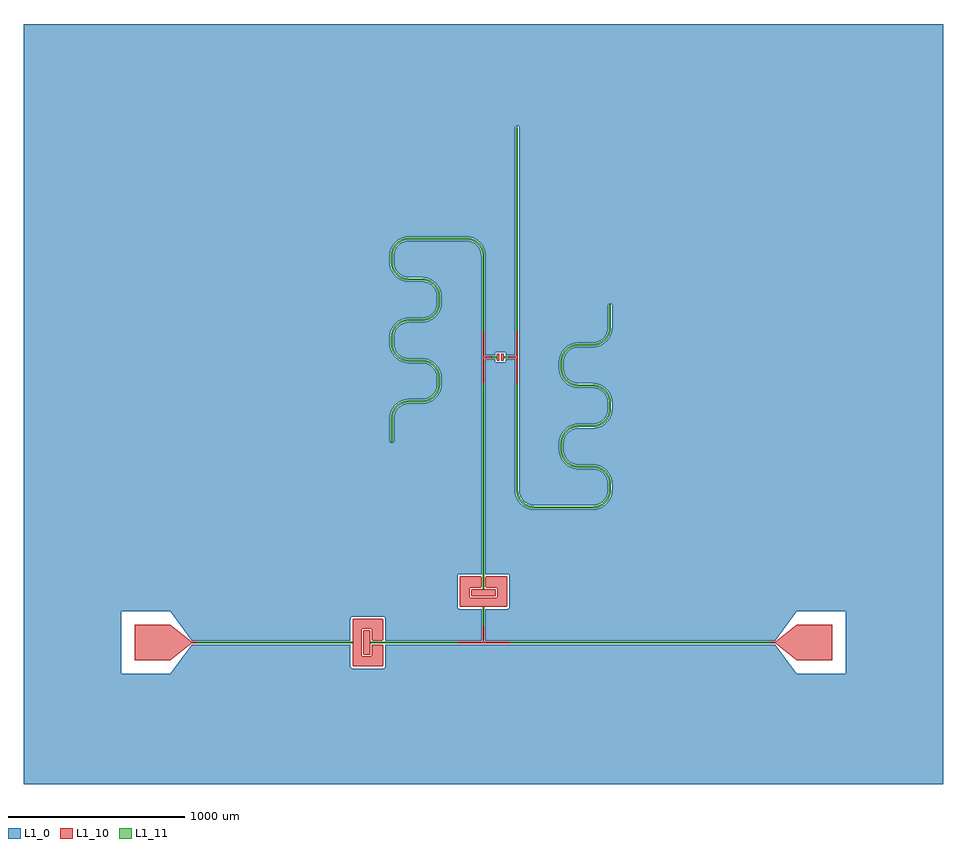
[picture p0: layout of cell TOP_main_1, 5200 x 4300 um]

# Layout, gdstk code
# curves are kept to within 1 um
import gdstk
lib = gdstk.Library(unit=1e-6, precision=1e-09)
def R(c, l, rs):  # rectangles x0, y0, x1, y1
    for r in rs: c.add(gdstk.rectangle(r[:2], r[2:], *l))
def P(c, l, *ps):  # polygons
    for p in ps: c.add(gdstk.Polygon(p, *l))
L1_0 = (1, 0)
L1_10 = (1, 10)
L1_11 = (1, 11)

ground_main_1 = lib.new_cell('ground_main_1')
R(ground_main_1, L1_0, [(-511.28,-800,-484.407,-11), (-484.407,-800,-438.03,-11), (-438.03,-800,-308.285,-11), (-308.285,-800,-263.265,-11), (-263.265,-800,-69.572,-11), (-69.572,-800,144.978,-11), (144.978,-800,437.953,-11), (437.953,-800,477.269,-11), (477.269,-800,539,-11), (539,-800,666.051,-11), (666.051,-800,701.192,-11), (-69.572,11,-11,190), (437.953,11,477.269,754), (477.269,11,539,754), (-308.285,2296,-263.265,3500)])
P(ground_main_1, L1_0, [(701.945,840.369),(704.175,850.759),(705.016,858.687),(705.177,896),(704.175,909.241),(701.192,922.18),(701.192,837.82)],
  [(-509.575,2250.173),(-498.016,2263.782),(-484.407,2275.341),(-484.407,3500),(-511.28,3500),(-511.28,2247.731)],
  [(-484.407,2246.211),(-495.543,2231.526),(-502.515,2217.205),(-506.792,2201.862),(-508.234,2186),(-508.073,2148.687),(-505.677,2132.94),(-498.154,2113.104),(-484.407,2093.789)],
  [(-509.575,1790.173),(-498.016,1803.782),(-484.407,1815.341),(-484.407,2064.659),(-498.016,2076.218),(-511.28,2092.269),(-511.28,1787.731)],
  [(-484.407,1786.211),(-495.543,1771.526),(-502.515,1757.205),(-506.792,1741.862),(-508.234,1726),(-508.073,1688.687),(-505.677,1672.94),(-498.154,1653.104),(-484.407,1633.789)],
  [(-509.575,1330.173),(-498.016,1343.782),(-484.407,1355.341),(-484.407,1604.659),(-498.016,1616.218),(-511.28,1632.269),(-511.28,1327.731)],
  [(-484.407,1326.211),(-499.354,1304.524),(-504.249,1292.18),(-507.232,1279.241),(-508.234,1135),(-511.28,1135),(-511.28,11),(-484.407,11)],
  [(-481.964,2277.046),(-460.949,2288.187),(-438.03,2294.551),(-438.03,3500),(-484.407,3500),(-484.407,2275.341)],
  [(-438.03,2272.174),(-451.439,2268.281),(-463.464,2262.649),(-474.505,2255.272),(-484.407,2246.211),(-484.407,2093.789),(-474.505,2084.728),(-463.464,2077.351),(-451.439,2071.719),(-438.03,2067.826)],
  [(-481.964,1817.046),(-460.949,1828.187),(-438.03,1834.551),(-438.03,2045.449),(-460.949,2051.813),(-484.407,2064.659),(-484.407,1815.341)],
  [(-438.03,1812.174),(-451.439,1808.281),(-463.464,1802.649),(-474.505,1795.272),(-484.407,1786.211),(-484.407,1633.789),(-474.505,1624.728),(-463.464,1617.351),(-451.439,1611.719),(-438.03,1607.826)],
  [(-481.964,1357.046),(-460.949,1368.187),(-438.03,1374.551),(-438.03,1585.449),(-460.949,1591.813),(-484.407,1604.659),(-484.407,1355.341)],
  [(-438.03,1352.174),(-451.439,1348.281),(-463.464,1342.649),(-474.505,1335.272),(-484.407,1326.211),(-484.407,11),(-438.03,11)],
  [(-435.084,2294.993),(-432.127,2295.355),(-429.161,2295.637),(-426.189,2295.839),(-423.213,2295.96),(-420.234,2296),(-308.285,2296),(-308.285,3500),(-438.03,3500),(-438.03,2294.551)],
  [(-308.285,2274),(-420.234,2274),(-438.03,2272.174),(-438.03,2067.826),(-422.892,2066.04),(-340.073,2065.637),(-322.453,2062.749),(-308.285,2058.187)],
  [(-435.084,1834.993),(-341.036,1836.361),(-325.369,1839.232),(-308.285,1845.989),(-308.285,2034.011),(-325.369,2040.768),(-341.036,2043.639),(-423.213,2044.04),(-438.03,2045.449),(-438.03,1834.551)],
  [(-308.285,1821.813),(-322.453,1817.251),(-340.073,1814.363),(-422.892,1813.96),(-438.03,1812.174),(-438.03,1607.826),(-422.892,1606.04),(-340.073,1605.637),(-322.453,1602.749),(-308.285,1598.187)],
  [(-435.084,1374.993),(-341.036,1376.361),(-325.369,1379.232),(-308.285,1385.989),(-308.285,1574.011),(-325.369,1580.768),(-341.036,1583.639),(-423.213,1584.04),(-438.03,1585.449),(-438.03,1374.551)],
  [(-308.285,1361.813),(-322.453,1357.251),(-340.073,1354.363),(-422.892,1353.96),(-438.03,1352.174),(-438.03,11),(-308.285,11)],
  [(-263.265,2274),(-308.285,2274),(-308.285,2058.187),(-284.827,2045.341),(-273.353,2035.86),(-263.265,2024.916)],
  [(-308.104,1846.08),(-294.729,1854.728),(-283.131,1865.645),(-273.691,1878.474),(-265.814,1895.294),(-263.265,1904.21),(-263.265,1975.79),(-269.88,1994.524),(-279.728,2010.271),(-292.661,2023.601),(-308.285,2034.011)],
  [(-263.265,1855.084),(-273.353,1844.14),(-284.827,1834.659),(-308.285,1821.813),(-308.285,1598.187),(-284.827,1585.341),(-273.353,1575.86),(-263.265,1564.916)],
  [(-308.104,1386.08),(-294.729,1394.728),(-283.131,1405.645),(-273.691,1418.474),(-265.814,1435.294),(-263.265,1444.21),(-263.265,1515.79),(-269.88,1534.524),(-279.728,1550.271),(-292.661,1563.601),(-308.285,1574.011)],
  [(-263.265,1395.084),(-273.353,1384.14),(-284.827,1374.659),(-308.285,1361.813),(-308.285,11),(-263.265,11)],
  [(-69.572,3500),(-263.265,3500),(-263.265,2296),(-96.021,2295.96),(-69.572,2291.99)],
  [(-69.572,190),(-137.341,190.231),(-144.276,194.387),(-147,202),(-146.087,379.592),(-141.667,384.978),(-136.176,386.942),(-69.572,387),(-69.572,2268.925),(-83.138,2272.559),(-96.342,2273.96),(-263.265,2274),(-263.265,2024.916),(-253.245,2010.138),(-245.747,1993.933),(-240.449,1973.796),(-239,1956),(-239.161,1918.045),(-242.251,1897.453),(-250.454,1875.126),(-263.265,1855.084),(-263.265,1564.916),(-253.245,1550.138),(-245.747,1533.933),(-240.449,1513.796),(-239,1496),(-239.161,1458.045),(-242.251,1437.453),(-250.454,1415.126),(-263.265,1395.084),(-263.265,11),(-69.572,11)],
  [(-262.96,1905.53),(-261.642,1913.393),(-261.04,1921.342),(-261,1956),(-261.642,1966.607),(-263.265,1975.79),(-263.265,1904.21)],
  [(-262.96,1445.53),(-261.642,1453.393),(-261.04,1461.342),(-261,1496),(-261.642,1506.607),(-263.265,1515.79),(-263.265,1444.21)],
  [(65.5,1642),(67.5,1644),(122.89,1643.962),(124.49,1642.196),(124.5,1626),(144.978,1626),(144.978,3500),(-69.572,3500),(-69.572,2291.99),(-55.533,2287.047),(-42.289,2280.254),(-30.084,2271.735),(-19.14,2261.647),(-9.659,2250.173),(-1.814,2237.525),(4.253,2223.933),(8.428,2209.647),(11,2186),(11,1626),(65.5,1626)],
  [(-11,387),(-11.04,2188.658),(-12.441,2201.862),(-15.814,2214.706),(-21.08,2226.896),(-28.12,2238.154),(-36.775,2248.225),(-46.846,2256.88),(-69.572,2268.925),(-69.572,387)],
  [(144.978,1604),(124.5,1604),(124.49,1587.804),(122.5,1586),(67.11,1586.038),(65.51,1587.804),(65.5,1604),(11,1604),(11,387),(135,387),(140.657,385.583),(144.978,381.667)],
  [(144.978,195.333),(140.657,191.417),(135,190),(11,190),(11,11),(144.978,11)],
  [(437.953,1050.533),(431.572,1070.353),(429,1094),(429.645,1137.893),(432.251,1152.547),(437.953,1169.467),(437.953,1510.533),(431.572,1530.353),(429,1554),(429.645,1597.893),(432.251,1612.547),(437.953,1629.467),(437.953,3500),(144.978,3500),(144.978,1626),(179,1626),(179,2921),(201,2921),(201.642,853.393),(204.232,840.369),(208.753,827.884),(221.399,807.661),(239.01,791.577),(250.476,784.88),(262.82,779.985),(286.342,776.04),(437.953,776)],
  [(437.953,754),(286.021,754.04),(271.204,755.449),(256.713,758.845),(232.289,769.746),(213.353,784.14),(196.316,804.758),(184.758,828.877),(180.449,846.204),(179,864),(179,1604),(144.978,1604),(144.978,381.667),(147,375),(147,202),(144.978,195.333),(144.978,11),(437.953,11)],
  [(439.167,1632.188),(446.316,1645.242),(455.162,1657.212),(465.543,1667.879),(477.269,1677.046),(477.269,3500),(437.953,3500),(437.953,1629.467)],
  [(477.269,1648.705),(466.577,1635.99),(457.699,1619.676),(452.441,1601.862),(451,1586),(451.161,1548.687),(454.232,1530.369),(463.691,1508.474),(477.269,1491.295)],
  [(439.167,1172.188),(446.316,1185.242),(455.162,1197.212),(465.543,1207.879),(477.269,1217.046),(477.269,1462.954),(465.543,1472.121),(455.162,1482.788),(444.746,1497.289),(437.953,1510.533),(437.953,1169.467)],
  [(477.269,1188.705),(466.577,1175.99),(457.699,1159.676),(452.441,1141.862),(451,1126),(451.161,1088.687),(454.232,1070.369),(463.691,1048.474),(477.269,1031.295)],
  [(477.269,1002.954),(465.543,1012.121),(455.162,1022.788),(444.746,1037.289),(437.953,1050.533),(437.953,776),(477.269,776)],
  [(479.758,1678.684),(492.812,1685.833),(506.713,1691.155),(521.204,1694.551),(539,1696),(539,3500),(477.269,3500),(477.269,1677.046)],
  [(539,1674),(523.138,1672.559),(505.324,1667.301),(491.22,1659.899),(477.269,1648.705),(477.269,1491.295),(491.22,1480.101),(505.324,1472.699),(523.138,1467.441),(539,1466)],
  [(479.758,1218.684),(492.812,1225.833),(506.713,1231.155),(521.204,1234.551),(539,1236),(539,1444),(521.204,1445.449),(506.713,1448.845),(490.126,1455.454),(477.269,1462.954),(477.269,1217.046)],
  [(539,1214),(523.138,1212.559),(505.324,1207.301),(491.22,1199.899),(477.269,1188.705),(477.269,1031.295),(491.22,1020.101),(505.324,1012.699),(523.138,1007.441),(539,1006)],
  [(539,984),(521.204,985.449),(506.713,988.845),(490.126,995.454),(477.269,1002.954),(477.269,776),(539,776)],
  [(617.177,1696),(630.418,1697.002),(643.357,1699.985),(666.051,1710.832),(666.051,3500),(539,3500),(539,1696)],
  [(666.051,1685.454),(646.605,1678.01),(626.104,1674.363),(539,1674),(539,1466),(626.104,1465.637),(646.605,1461.99),(666.051,1454.546)],
  [(617.177,1236),(630.418,1237.002),(643.357,1239.985),(666.051,1250.832),(666.051,1429.168),(648.382,1438.281),(627.784,1443.358),(539,1444),(539,1236)],
  [(666.051,1225.454),(646.605,1218.01),(626.104,1214.363),(539,1214),(539,1006),(626.104,1005.637),(646.605,1001.99),(666.051,994.546)],
  [(619.835,776.04),(643.357,779.985),(666.051,790.832),(666.051,969.168),(648.382,978.281),(627.784,983.358),(539,984),(539,776)],
  [(666.051,765.454),(646.605,758.01),(626.104,754.363),(539,754),(539,11),(666.051,11)],
  [(667.167,1711.577),(677.495,1719.924),(688.057,1731.846),(696.297,1745.476),(701.192,1757.82),(701.192,3500),(666.051,3500),(666.051,1710.832)],
  [(701.192,1713.002),(686.093,1698.265),(666.051,1685.454),(666.051,1454.546),(686.093,1441.735),(701.192,1426.998)],
  [(667.167,1251.577),(677.495,1259.924),(688.057,1271.846),(696.297,1285.476),(701.192,1297.82),(701.192,1382.18),(696.297,1394.524),(688.057,1408.154),(677.495,1420.076),(666.051,1429.168),(666.051,1250.832)],
  [(701.192,1253.002),(686.093,1238.265),(666.051,1225.454),(666.051,994.546),(686.093,981.735),(701.192,966.998)],
  [(667.167,791.577),(677.495,799.924),(688.057,811.846),(696.297,825.476),(701.192,837.82),(701.192,922.18),(696.297,934.524),(688.057,948.154),(677.495,960.076),(666.051,969.168),(666.051,790.832)],
  [(701.192,793.002),(686.093,778.265),(666.051,765.454),(666.051,11),(701.192,11)],
  [(702.62,1762.94),(705.137,1781.342),(705.177,1915),(727.177,1915),(726.17,1769.15),(723.167,1754.572),(718.224,1740.533),(711.431,1727.289),(701.192,1713.002),(701.192,1426.998),(712.932,1410.138),(720.429,1393.933),(725.728,1373.796),(727.177,1356),(727.016,1318.045),(723.925,1297.453),(715.723,1275.126),(701.192,1253.002),(701.192,966.998),(715.723,944.874),(723.925,922.547),(727.016,901.955),(727.177,864),(725.728,846.204),(720.429,826.067),(712.932,809.862),(701.192,793.002),(701.192,11),(1650,11),(1772,176.5),(2048.5,176.5),(2048.5,-176.5),(1772,-176.5),(1650,-11),(701.192,-11),(701.192,-800),(2600,-800),(2600,3500),(701.192,3500),(701.192,1757.82)],
  [(701.945,1300.369),(704.175,1310.759),(705.016,1318.687),(705.177,1356),(704.175,1369.241),(701.192,1382.18),(701.192,1297.82)],
  [(-511.28,-11),(-555.5,-11),(-555.558,-136.176),(-559.015,-143.485),(-566.324,-146.942),(-740.5,-147),(-747.167,-144.978),(-751.083,-140.657),(-752.5,-135),(-752.5,-11),(-1650,-11),(-1772,-176.5),(-2048.5,-176.5),(-2048.5,176.5),(-1772,176.5),(-1650,11),(-752.5,11),(-752.5,135),(-751.083,140.657),(-747.167,144.978),(-740.5,147),(-566.324,146.942),(-559.015,143.485),(-555.558,136.176),(-555.5,11),(-511.28,11),(-511.28,1135),(-530.234,1135),(-530.073,1271.955),(-526.982,1292.547),(-520.067,1312.188),(-2600,1312.188),(-2600,-800),(-511.28,-800)],
  [(-518.78,1314.874),(-511.28,1327.731),(-511.28,1632.269),(-522.421,1653.285),(-528.263,1673.271),(-530.194,1691.021),(-530.234,1726),(-528.785,1743.796),(-525.389,1758.287),(-518.78,1774.874),(-511.28,1787.731),(-511.28,2092.269),(-522.421,2113.285),(-528.263,2133.271),(-530.194,2151.021),(-530.234,2186),(-528.785,2203.796),(-525.389,2218.287),(-518.78,2234.874),(-511.28,2247.731),(-511.28,3500),(-2600,3500),(-2600,1312.188),(-520.067,1312.188)])

top_main_1 = lib.new_cell('TOP_main_1')
P(top_main_1, L1_10, [(-1650,5),(-1772,100),(-1972,100),(-1972,-100),(-1772,-100),(-1650,-5),(-1620,-5),(-1620,5),(-1650,5)],
  [(1650,-5),(1772,-100),(1972,-100),(1972,100),(1772,100),(1650,5),(1620,5),(1620,-5),(1650,-5)],
  [(-672.5,-70),(-678.157,-67.657),(-680.461,-62.784),(-680.346,63.561),(-678.157,67.657),(-674.061,69.846),(-645.939,69.846),(-641.316,67.075),(-639.5,62),(-639.654,-63.561),(-641.843,-67.657),(-645.939,-69.846)],
  [(-575.402,-134.995),(-569.989,-132.789),(-567.505,-127.098),(-567.505,-18.902),(-570.583,-12.699),(-575.598,-11),(-627.44,-12.046),(-631.471,-18.412),(-631.5,-70),(-633.316,-75.075),(-638.716,-77.961),(-680.5,-78),(-686.157,-75.657),(-688.461,-70.784),(-688.5,-11),(-740.5,-11),(-740.5,-126.902),(-737.417,-133.301),(-732.402,-135)],
  [(-688.5,70),(-686.157,75.657),(-681.284,77.961),(-635.729,77.055),(-631.539,70.784),(-631.495,18.902),(-629.289,13.489),(-623.598,11.005),(-571.906,11.861),(-568.747,14.724),(-567.505,18.902),(-568.361,130.594),(-571.224,133.753),(-575.598,135),(-736.094,134.139),(-739.253,131.276),(-740.495,127.098),(-740.5,-11),(-688.5,-11)],
  [(150,-5),(-150,-5),(-150,5),(-5,5),(-5,100),(5,100),(5,5),(150,5),(150,-5)],
  [(70,270),(67.657,264.343),(62.784,262.039),(-63.561,262.154),(-67.657,264.343),(-69.846,268.439),(-69.846,296.561),(-67.075,301.184),(-62,303),(63.561,302.846),(67.657,300.657),(69.846,296.561)],
  [(11,254),(-70.784,254.039),(-75.657,256.343),(-77.846,260.439),(-77.961,303.784),(-75.075,309.184),(-70,311),(-18.412,311.029),(-12.046,315.06),(-11.005,367.098),(-14.083,373.301),(-19.098,375),(-126.902,375),(-133.301,371.917),(-135,366.902),(-135,210.098),(-131.917,203.699),(-126.902,202),(11,202)],
  [(127.098,202.005),(132.511,204.211),(134.995,209.902),(135,366.902),(133.753,371.276),(130.94,373.954),(126.902,375),(19.098,375),(14.724,373.753),(11.005,367.098),(12.046,315.06),(18.412,311.029),(70,311),(75.075,309.184),(77.961,303.784),(78,262),(75.657,256.343),(70.784,254.039),(11,254),(11,202)],
  [(-5,1465),(-5,1765),(5,1765),(5,1620),(45.5,1620),(45.5,1610),(5,1610),(5,1465),(-5,1465)],
  [(144.5,1620),(185,1620),(185,1765),(195,1765),(195,1465),(185,1465),(185,1610),(144.5,1610),(144.5,1620)],
  [(77.5,1596),(75.51,1597.804),(75.586,1632.581),(77.304,1633.99),(89.081,1633.914),(90.5,1632),(90.414,1597.419),(88.696,1596.01)],
  [(101.5,1596),(99.51,1597.804),(99.586,1632.581),(101.304,1633.99),(113.081,1633.914),(114.5,1632),(114.414,1597.419),(112.696,1596.01)])
R(top_main_1, L1_11, [(-1620,-5,-792.5,5), (-792.5,-5,-740.499,5), (-639.501,-5,-527.5,5), (-527.5,-5,-150,5), (150,-5,1620,5), (-5,100,5,150), (-5,150,5,202.001), (-5,302.999,5,415), (-5,415,5,1465), (185,1009.999,195,1226.076), (185,1226.076,195,1443.065), (185,1443.065,195,1465), (45.5,1610,65.5,1620), (65.5,1610,75.501,1620), (114.499,1610,124.5,1620), (124.5,1610,144.5,1620), (-5,1765,5,1824.365), (185,1765,195,2915), (-5,1824.365,5,2040.001)])
P(top_main_1, L1_11, [(-514.234,1266),(-511.031,1290.329),(-501.64,1313),(-486.702,1332.468),(-467.234,1347.406),(-449.801,1355.229),(-431.147,1359.364),(-343.271,1360.158),(-317.954,1364.742),(-299.501,1372.535),(-282.885,1383.721),(-268.721,1397.885),(-257.456,1414.652),(-268.995,1414.652),(-278.78,1401.509),(-290.698,1390.265),(-304.388,1381.261),(-319.433,1374.771),(-343.534,1370.159),(-423.1,1369.961),(-442.977,1367.483),(-456.7,1363.397),(-472.234,1356.067),(-484.112,1348.071),(-496.749,1336.437),(-507.299,1322.883),(-515.474,1307.776),(-521.051,1291.53),(-523.879,1274.588),(-524.234,1135),(-514.234,1135)],
  [(-256.206,1417.041),(-248.924,1435.701),(-245.631,1452.559),(-245,1496),(-246.418,1513.118),(-250.635,1529.769),(-258.933,1548),(-268.721,1562.115),(-280.698,1574.427),(-292.117,1583.065),(-304.615,1590.053),(-317.954,1595.258),(-331.882,1598.582),(-346.134,1599.961),(-425.699,1600.159),(-441.912,1602.534),(-459.354,1608.535),(-479.494,1608.535),(-456.7,1596.603),(-434.519,1590.986),(-346.266,1589.96),(-329.992,1588.058),(-309.274,1581.193),(-288.578,1568.008),(-278.78,1558.491),(-268.995,1545.348),(-261.641,1530.705),(-256.942,1515.008),(-255.04,1498.734),(-255.636,1453.087),(-259.771,1434.433),(-268.995,1414.652),(-257.456,1414.652)],
  [(-459.96,1608.807),(-478.536,1620.265),(-493.969,1635.698),(-505.427,1654.274),(-511.7,1672.322),(-514.194,1691.266),(-513.598,1736.913),(-508.565,1758.15),(-498.77,1777.654),(-488.607,1790.507),(-476.367,1801.4),(-459.96,1811.193),(-444.563,1816.797),(-422.968,1819.96),(-343.271,1820.158),(-319.22,1824.365),(-454.003,1824.365),(-469.732,1817.465),(-484.112,1808.071),(-496.749,1796.437),(-507.299,1782.883),(-518.599,1759.769),(-523.603,1737.441),(-524.076,1688.271),(-520.31,1665.701),(-515.474,1652.224),(-508.833,1639.538),(-500.513,1627.885),(-490.671,1617.485),(-479.494,1608.535)],
  [(-317.954,1824.742),(-304.615,1829.947),(-292.117,1836.935),(-280.698,1845.573),(-270.573,1855.698),(-261.935,1867.117),(-254.947,1879.615),(-248.924,1895.701),(-245.986,1909.715),(-245.158,1961.729),(-249.742,1987.046),(-256.206,2002.959),(-265.2,2017.592),(-276.481,2030.545),(-287.69,2040.001),(-306.813,2040.001),(-286.509,2026.22),(-270.464,2007.654),(-259.771,1985.567),(-255.159,1961.466),(-255.04,1921.266),(-256.942,1904.992),(-263.807,1884.274),(-275.265,1865.698),(-284.493,1855.627),(-297.346,1845.464),(-311.769,1837.688),(-327.322,1832.534),(-346.266,1830.04),(-425.963,1829.842),(-440.172,1828.071),(-454.003,1824.365)],
  [(-289.74,2041.465),(-309.864,2052.355),(-329.062,2058.071),(-346.134,2059.961),(-431.147,2060.636),(-454.939,2066.641),(-474.15,2077),(-484.741,2085.627),(-493.969,2095.698),(-502.973,2109.388),(-508.565,2121.85),(-512.806,2137.677),(-514.194,2151.266),(-514.075,2191.466),(-511.431,2208.743),(-521.717,2208.743),(-524.076,2191.729),(-524.194,2151.134),(-520.31,2125.701),(-514.287,2109.615),(-505.699,2094.74),(-494.779,2081.481),(-481.826,2070.2),(-459.37,2057.645),(-434.519,2050.986),(-343.534,2049.841),(-324.671,2046.797),(-306.813,2040.001),(-287.69,2040.001)],
  [(5,2186),(2.483,2208.743),(-7.803,2208.743),(-5.04,2188.734),(-5,2040.001),(5,2040.001)],
  [(1.818,2211.53),(-2.645,2225.136),(-8.933,2238),(-16.929,2249.878),(-26.481,2260.545),(-37.408,2269.8),(-49.501,2277.465),(-65.231,2284.365),(-79.062,2288.071),(-99,2290),(-420.234,2290),(-437.352,2288.582),(-454.003,2284.365),(-469.732,2277.465),(-484.112,2268.071),(-496.749,2256.437),(-507.299,2242.883),(-516.589,2225.136),(-521.717,2208.743),(-511.431,2208.743),(-505.427,2225.726),(-497.234,2239.916),(-486.702,2252.468),(-474.15,2263),(-462.421,2270.001),(-449.801,2275.229),(-433.857,2279.008),(-420.234,2280),(-99,2280),(-82.677,2278.572),(-59.274,2271.193),(-40.698,2259.735),(-30.627,2250.507),(-20.464,2237.654),(-12.688,2223.231),(-7.803,2208.743),(2.483,2208.743)],
  [(620.043,760.039),(637.115,761.929),(653.643,766.603),(669.177,773.933),(683.292,783.721),(695.604,795.698),(705.777,809.538),(713.532,824.864),(718.66,841.257),(708.374,841.257),(702.37,824.274),(694.177,810.084),(683.645,797.532),(671.093,787),(659.364,779.999),(646.744,774.771),(630.801,770.992),(617.177,770),(289,770),(272.677,771.428),(249.274,778.807),(228.578,791.992),(218.78,801.509),(208.995,814.652),(202.688,826.769),(197.803,841.257),(187.517,841.257),(191.603,827.534),(198.933,812),(206.929,800.122),(216.481,789.455),(227.408,780.2),(239.501,772.535),(255.231,765.635),(269.062,761.929),(289,760)],
  [(197.534,842.322),(195.04,861.266),(195,1009.999),(185,1009.999),(185.355,855.412),(187.517,841.257),(197.803,841.257)],
  [(719.248,844.062),(721.137,861.134),(721.137,898.866),(719.759,913.118),(716.435,927.046),(709.971,942.959),(700.977,957.592),(689.696,970.545),(676.437,981.465),(653.643,993.397),(631.462,999.014),(533.534,1000.159),(514.671,1003.203),(496.813,1009.999),(477.69,1009.999),(497.224,998.76),(519.062,991.929),(536.134,990.039),(628.09,989.364),(651.882,983.359),(671.093,973),(681.684,964.373),(692.577,952.133),(699.916,940.612),(705.508,928.15),(709.749,912.323),(711.137,898.734),(711.018,858.534),(708.374,841.257),(718.66,841.257)],
  [(494.388,1011.261),(478.578,1021.992),(463.6,1037.867),(452.688,1056.769),(446.428,1077.677),(445,1094),(445.04,1128.734),(446.428,1142.323),(452.688,1163.231),(463.6,1182.133),(474.493,1194.373),(487.346,1204.536),(501.769,1212.312),(517.322,1217.466),(536.266,1219.96),(622.906,1220.158),(637.115,1221.929),(652.174,1226.076),(510.701,1226.076),(494.615,1220.053),(479.74,1211.465),(466.481,1200.545),(455.2,1187.592),(442.645,1165.136),(435.986,1140.285),(435.039,1091.134),(437.517,1071.257),(441.603,1057.534),(447.535,1044.501),(455.2,1032.408),(464.455,1021.481),(477.69,1009.999),(496.813,1009.999)],
  [(653.643,1226.603),(666.675,1232.535),(678.769,1240.2),(689.696,1249.455),(699.248,1260.122),(707.244,1272),(714.574,1287.534),(718.66,1301.257),(720.822,1315.412),(720.822,1364.588),(718.66,1378.743),(714.574,1392.466),(707.244,1408),(699.248,1419.878),(687.614,1432.515),(674.06,1443.065),(652.591,1443.065),(664.177,1437.406),(675.479,1429.735),(685.55,1420.507),(692.577,1412.133),(699.916,1400.612),(704.536,1390.705),(707.974,1380.329),(710.541,1366.913),(711.177,1324),(709.749,1307.677),(703.489,1286.769),(692.577,1267.867),(681.684,1255.627),(668.831,1245.464),(654.408,1237.688),(638.855,1232.534),(619.911,1230.04),(533.271,1229.842),(510.701,1226.076)],
  [(671.639,1444.6),(650.946,1454.365),(628.618,1459.369),(536.266,1460.04),(519.992,1461.942),(499.274,1468.807),(478.578,1481.992),(468.78,1491.509),(458.995,1504.652),(451.641,1519.295),(446.942,1534.992),(445.04,1551.266),(445.636,1596.913),(449.771,1615.567),(458.995,1635.348),(447.456,1635.348),(439.742,1617.046),(435.631,1597.441),(435.986,1539.715),(440.635,1520.231),(447.535,1504.501),(456.929,1490.122),(470.698,1475.573),(482.117,1466.935),(494.615,1459.947),(507.954,1454.742),(521.882,1451.418),(536.134,1450.039),(622.643,1449.841),(638.855,1447.466),(652.591,1443.065),(674.06,1443.065)],
  [(460.464,1637.654),(470.627,1650.507),(482.867,1661.4),(494.388,1668.739),(509.433,1675.229),(533.534,1679.841),(620.043,1680.039),(637.115,1681.929),(653.643,1686.603),(669.177,1693.933),(681.055,1701.929),(693.692,1713.563),(702.642,1724.74),(711.23,1739.615),(717.253,1755.701),(720.191,1769.715),(721.177,1915),(711.177,1915),(711.177,1784),(709.749,1767.677),(706.406,1754.433),(701.178,1741.813),(694.177,1730.084),(685.55,1719.493),(673.31,1708.6),(661.789,1701.261),(649.327,1695.669),(636.185,1691.942),(619.911,1690.04),(533.271,1689.842),(516.257,1687.483),(502.534,1683.397),(479.74,1671.465),(462.485,1656.437),(447.456,1635.348),(458.995,1635.348)])
top_main_1.add(gdstk.Reference(ground_main_1, (0,0)))

lib.write_gds('TOP_main_1.gds')
